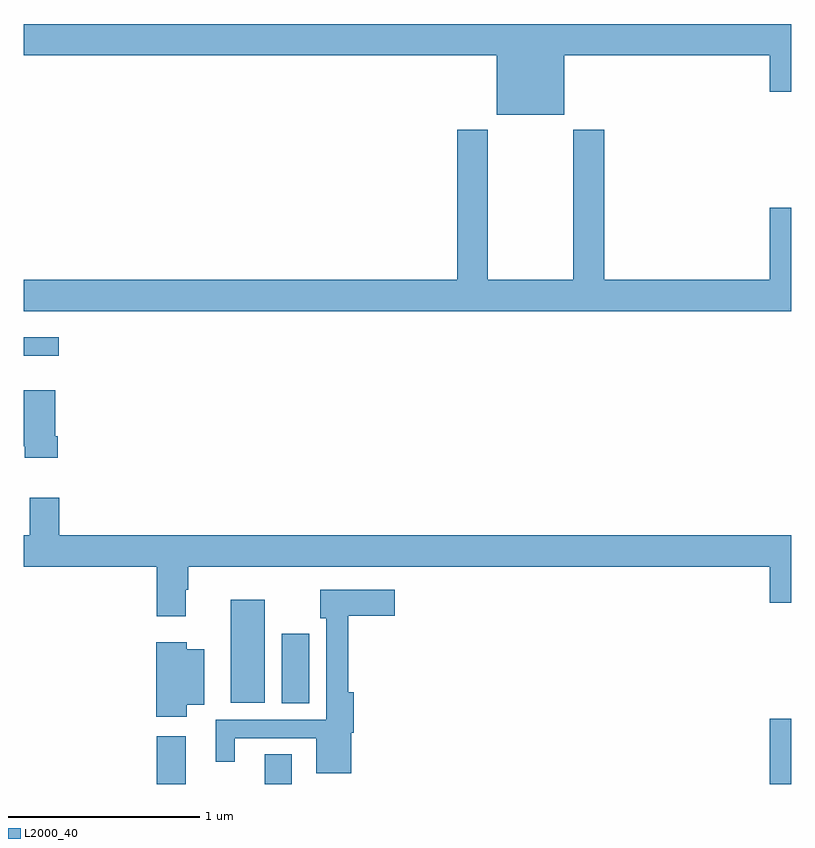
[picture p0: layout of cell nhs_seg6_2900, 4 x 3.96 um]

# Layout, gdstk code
import gdstk
lib = gdstk.Library(unit=1e-6, precision=1e-09)
def R(c, l, rs):  # rectangles x0, y0, x1, y1
    for r in rs: c.add(gdstk.rectangle(r[:2], r[2:], *l))
def P(c, l, *ps):  # polygons
    for p in ps: c.add(gdstk.Polygon(p, *l))
L2000_40 = (2000, 40)

nhs_seg6_2900 = lib.new_cell('nhs_seg6_2900')
R(nhs_seg6_2900, L2000_40, [(281.693,983.5,281.845,983.749), (282.257,983.5,282.397,983.654), (284.888,983.5,285,983.839), (282.344,983.92,282.487,984.283), (282.08,983.924,282.256,984.46), (281,985.731,281.182,985.828)])
P(nhs_seg6_2900, L2000_40, [(283.816,987.296),(284.888,987.296),(284.888,987.108),(285,987.108),(285,987.46),(281,987.46),(281,987.296),(283.466,987.296),(283.466,986.987),(283.816,986.987)],
  [(285,986.503),(284.888,986.503),(284.888,986.128),(284.024,986.128),(284.024,986.908),(283.864,986.908),(283.864,986.128),(283.419,986.128),(283.419,986.908),(283.259,986.908),(283.259,986.128),(281,986.128),(281,985.964),(285,985.964)],
  [(281.177,985.312),(281.164,985.312),(281.164,985.552),(281,985.552),(281,985.26),(281.006,985.26),(281.006,985.2),(281.177,985.2)],
  [(281.845,984.512),(281.858,984.512),(281.858,984.632),(284.888,984.632),(284.888,984.444),(285,984.444),(285,984.796),(281.186,984.796),(281.186,984.991),(281.033,984.991),(281.033,984.796),(281,984.796),(281,984.632),(281.693,984.632),(281.693,984.375),(281.845,984.375)],
  [(282.706,983.766),(282.719,983.766),(282.719,983.977),(282.692,983.977),(282.692,984.377),(282.934,984.377),(282.934,984.511),(282.545,984.511),(282.545,984.363),(282.576,984.363),(282.576,983.835),(282.002,983.835),(282.002,983.616),(282.1,983.616),(282.1,983.739),(282.524,983.739),(282.524,983.555),(282.706,983.555)],
  [(281.851,983.912),(281.941,983.912),(281.941,984.202),(281.851,984.202),(281.851,984.238),(281.69,984.238),(281.69,983.85),(281.851,983.85)])

lib.write_gds('nhs_seg6_2900.gds')
